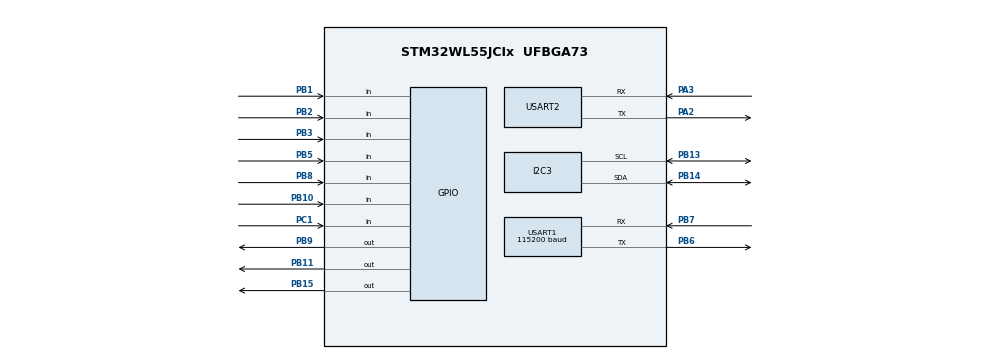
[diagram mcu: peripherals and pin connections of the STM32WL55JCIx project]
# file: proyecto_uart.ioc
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Mcu.Family=STM32WL
Mcu.Name=STM32WL55JCIx
Mcu.Package=UFBGA73
NVIC.PriorityGroup=NVIC_PRIORITYGROUP_4
PA2.Mode=Asynchronous
PA2.Signal=USART2_TX
PA3.Mode=Asynchronous
PA3.Signal=USART2_RX
PB1.GPIO_PuPd=GPIO_PULLDOWN
PB1.Signal=GPIO_Input
PB10.GPIO_PuPd=GPIO_PULLDOWN
PB10.Signal=GPIO_Input
PB11.Signal=GPIO_Output
PB13.Mode=I2C
PB13.Signal=I2C3_SCL
PB14.Mode=I2C
PB14.Signal=I2C3_SDA
PB15.Signal=GPIO_Output
PB2.GPIO_PuPd=GPIO_PULLDOWN
PB2.Signal=GPIO_Input
PB3.GPIO_PuPd=GPIO_PULLDOWN
PB3.Signal=GPIO_Input
PB5.GPIO_PuPd=GPIO_PULLDOWN
PB5.Signal=GPIO_Input
PB6.Mode=Asynchronous
PB6.Signal=USART1_TX
PB7.Mode=Asynchronous
PB7.Signal=USART1_RX
PB8.GPIO_PuPd=GPIO_PULLDOWN
PB8.Signal=GPIO_Input
PB9.Signal=GPIO_Output
PC1.GPIO_PuPd=GPIO_PULLDOWN
PC1.Signal=GPIO_Input
ProjectManager.HeapSize=0x200
ProjectManager.StackSize=0x400
ProjectManager.TargetToolchain=STM32CubeIDE
RCC.HSE_VALUE=8000000
RCC.HSI_VALUE=16000000
RCC.LSE_VALUE=32768
RCC.VCOOutputFreq_Value=32000000
USART1.BaudRate=115200
USART1.VirtualMode-Asynchronous=VM_ASYNC
USART2.VirtualMode-Asynchronous=VM_ASYNC
board=custom

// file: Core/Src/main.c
/* USER CODE BEGIN Header */
/**
  ******************************************************************************
  * @file           : main.c
  * @brief          : Main program body
  ******************************************************************************
  * @attention
  *
  * Copyright (c) 2023 STMicroelectronics.
  * All rights reserved.
  *
  * This software is licensed under terms that can be found in the LICENSE file
  * in the root directory of this software component.
  * If no LICENSE file comes with this software, it is provided AS-IS.
  *
  ******************************************************************************
  */
/* USER CODE END Header */
#include "main.h"

/* USER CODE BEGIN Includes */

#include <string.h>

/* USER CODE END Includes */

I2C_HandleTypeDef hi2c3;

UART_HandleTypeDef huart1;
UART_HandleTypeDef huart2;

void SystemClock_Config(void);
static void MX_GPIO_Init(void);
static void MX_I2C3_Init(void);
static void MX_USART1_UART_Init(void);
static void MX_USART2_UART_Init(void);
/* USER CODE BEGIN PFP */

uint8_t rx_indx;
uint8_t rx_data[6];
uint8_t rx_buffer[100];
uint8_t rx_transfer_cplt;
uint8_t UART1_rxBuffer[100] = {0};

char cadena[120];
char buf_tx[300];

const uint8_t tmp102_address = 0x48<<1;
const uint8_t mpu6050_address = 0x68<<1;

uint8_t MSG1[] = "- valor en data_marks";
uint8_t MSG2[] = "\r\n";

extern char buffer_rx[LEN_BUF][LEN_DATA];

const char *data_marks[] = {
	    "0B", "0D", "0E", "12", "13", "14", "16", "18", "19", "1A", "1B", "1C", "1D", "1F", "23", "33"
	};

/* USER CODE END PFP */

int main(void)
{

  /* MCU Configuration--------------------------------------------------------*/

  /* Reset of all peripherals, Initializes the Flash interface and the Systick. */
  HAL_Init();

  /* USER CODE BEGIN Init */

  MPU6050_Init(&hi2c3, mpu6050_address);

  /* USER CODE END Init */

  /* Configure the system clock */
  SystemClock_Config();

  /* Initialize all configured peripherals */
  MX_GPIO_Init();
  MX_I2C3_Init();
  MX_USART1_UART_Init();
  MX_USART2_UART_Init();
  /* USER CODE BEGIN 2 */

  uint32_t lat = 20518266;
  uint32_t lon = 100518390;
  uint8_t data[1] = "\0";

  uint8_t ErrorMSG1[] = "Comenzo \r\n";

  char Buffer[60] = {0};

  transmitirMensajes1(&huart2, &hi2c3);  //scanner i2c

  HAL_Delay(2000);

  /* USER CODE END 2 */

  /* Infinite loop */
  while (1)
  {

    /* USER CODE BEGIN 3 */

		HAL_UART_ReadString(&huart1, cadena, 120); //recibo la cadena de caracteres

		if (verifyChecksum2(cadena, 1)){
			HAL_GPIO_WritePin(GPIOB, GPIO_PIN_9, GPIO_PIN_RESET);
		}else{
			HAL_GPIO_WritePin(GPIOB, GPIO_PIN_9, GPIO_PIN_SET);
		}

		payload_msg(cadena, data_marks, &huart2, &hi2c3, tmp102_address, mpu6050_address);

		memset(buf_tx, 0, sizeof(buf_tx));

		sprintf(buf_tx, "Enviado: %s \r\n", cadena);
		HAL_UART_Transmit(&huart1, (uint8_t *)buf_tx, strlen(buf_tx), 10);

		memset(buf_tx, 0, sizeof(buf_tx));
		memset(cadena, 0, sizeof(cadena));

		read_temp(&huart2, &hi2c3, tmp102_address);
		mpu_read_data2(&huart2, &hi2c3, mpu6050_address);

  }
  /* USER CODE END 3 */
}

void SystemClock_Config(void)
{
  RCC_OscInitTypeDef RCC_OscInitStruct = {0};
  RCC_ClkInitTypeDef RCC_ClkInitStruct = {0};

  /** Configure the main internal regulator output voltage
  */
  __HAL_PWR_VOLTAGESCALING_CONFIG(PWR_REGULATOR_VOLTAGE_SCALE2);

  /** Initializes the CPU, AHB and APB buses clocks
  */
  RCC_OscInitStruct.OscillatorType = RCC_OSCILLATORTYPE_MSI;
  RCC_OscInitStruct.MSIState = RCC_MSI_ON;
  RCC_OscInitStruct.MSICalibrationValue = RCC_MSICALIBRATION_DEFAULT;
  RCC_OscInitStruct.MSIClockRange = RCC_MSIRANGE_6;
  RCC_OscInitStruct.PLL.PLLState = RCC_PLL_NONE;
  if (HAL_RCC_OscConfig(&RCC_OscInitStruct) != HAL_OK)
  {
    Error_Handler();
  }

  /** Configure the SYSCLKSource, HCLK, PCLK1 and PCLK2 clocks dividers
  */
  RCC_ClkInitStruct.ClockType = RCC_CLOCKTYPE_HCLK3|RCC_CLOCKTYPE_HCLK
                              |RCC_CLOCKTYPE_SYSCLK|RCC_CLOCKTYPE_PCLK1
                              |RCC_CLOCKTYPE_PCLK2;
  RCC_ClkInitStruct.SYSCLKSource = RCC_SYSCLKSOURCE_MSI;
  RCC_ClkInitStruct.AHBCLKDivider = RCC_SYSCLK_DIV1;
  RCC_ClkInitStruct.APB1CLKDivider = RCC_HCLK_DIV1;
  RCC_ClkInitStruct.APB2CLKDivider = RCC_HCLK_DIV1;
  RCC_ClkInitStruct.AHBCLK3Divider = RCC_SYSCLK_DIV1;

  if (HAL_RCC_ClockConfig(&RCC_ClkInitStruct, FLASH_LATENCY_0) != HAL_OK)
  {
    Error_Handler();
  }
}

static void MX_I2C3_Init(void)
{

  hi2c3.Instance = I2C3;
  hi2c3.Init.Timing = 0x00000E14;
  hi2c3.Init.OwnAddress1 = 0;
  hi2c3.Init.AddressingMode = I2C_ADDRESSINGMODE_7BIT;
  hi2c3.Init.DualAddressMode = I2C_DUALADDRESS_DISABLE;
  hi2c3.Init.OwnAddress2 = 0;
  hi2c3.Init.OwnAddress2Masks = I2C_OA2_NOMASK;
  hi2c3.Init.GeneralCallMode = I2C_GENERALCALL_DISABLE;
  hi2c3.Init.NoStretchMode = I2C_NOSTRETCH_DISABLE;
  if (HAL_I2C_Init(&hi2c3) != HAL_OK)
  {
    Error_Handler();
  }

  /** Configure Analogue filter
  */
  if (HAL_I2CEx_ConfigAnalogFilter(&hi2c3, I2C_ANALOGFILTER_ENABLE) != HAL_OK)
  {
    Error_Handler();
  }

  /** Configure Digital filter
  */
  if (HAL_I2CEx_ConfigDigitalFilter(&hi2c3, 0) != HAL_OK)
  {
    Error_Handler();
  }

}

static void MX_USART1_UART_Init(void)
{

  huart1.Instance = USART1;
  huart1.Init.BaudRate = 115200;
  huart1.Init.WordLength = UART_WORDLENGTH_8B;
  huart1.Init.StopBits = UART_STOPBITS_1;
  huart1.Init.Parity = UART_PARITY_NONE;
  huart1.Init.Mode = UART_MODE_TX_RX;
  huart1.Init.HwFlowCtl = UART_HWCONTROL_NONE;
  huart1.Init.OverSampling = UART_OVERSAMPLING_16;
  huart1.Init.OneBitSampling = UART_ONE_BIT_SAMPLE_DISABLE;
  huart1.Init.ClockPrescaler = UART_PRESCALER_DIV1;
  huart1.AdvancedInit.AdvFeatureInit = UART_ADVFEATURE_NO_INIT;
  if (HAL_UART_Init(&huart1) != HAL_OK)
  {
    Error_Handler();
  }
  if (HAL_UARTEx_SetTxFifoThreshold(&huart1, UART_TXFIFO_THRESHOLD_1_8) != HAL_OK)
  {
    Error_Handler();
  }
  if (HAL_UARTEx_SetRxFifoThreshold(&huart1, UART_RXFIFO_THRESHOLD_1_8) != HAL_OK)
  {
    Error_Handler();
  }
  if (HAL_UARTEx_DisableFifoMode(&huart1) != HAL_OK)
  {
    Error_Handler();
  }

}

static void MX_USART2_UART_Init(void)
{

  huart2.Instance = USART2;
  huart2.Init.BaudRate = 115200;
  huart2.Init.WordLength = UART_WORDLENGTH_8B;
  huart2.Init.StopBits = UART_STOPBITS_1;
  huart2.Init.Parity = UART_PARITY_NONE;
  huart2.Init.Mode = UART_MODE_TX_RX;
  huart2.Init.HwFlowCtl = UART_HWCONTROL_NONE;
  huart2.Init.OverSampling = UART_OVERSAMPLING_16;
  huart2.Init.OneBitSampling = UART_ONE_BIT_SAMPLE_DISABLE;
  huart2.Init.ClockPrescaler = UART_PRESCALER_DIV1;
  huart2.AdvancedInit.AdvFeatureInit = UART_ADVFEATURE_NO_INIT;
  if (HAL_UART_Init(&huart2) != HAL_OK)
  {
    Error_Handler();
  }
  if (HAL_UARTEx_SetTxFifoThreshold(&huart2, UART_TXFIFO_THRESHOLD_1_8) != HAL_OK)
  {
    Error_Handler();
  }
  if (HAL_UARTEx_SetRxFifoThreshold(&huart2, UART_RXFIFO_THRESHOLD_1_8) != HAL_OK)
  {
    Error_Handler();
  }
  if (HAL_UARTEx_DisableFifoMode(&huart2) != HAL_OK)
  {
    Error_Handler();
  }

}

static void MX_GPIO_Init(void)
{
  GPIO_InitTypeDef GPIO_InitStruct = {0};

  /* GPIO Ports Clock Enable */
  __HAL_RCC_GPIOB_CLK_ENABLE();
  __HAL_RCC_GPIOC_CLK_ENABLE();
  __HAL_RCC_GPIOA_CLK_ENABLE();

  /*Configure GPIO pin Output Level */
  HAL_GPIO_WritePin(GPIOB, GPIO_PIN_15|GPIO_PIN_9|GPIO_PIN_11, GPIO_PIN_RESET);

  /*Configure GPIO pins : PB15 PB9 PB11 */
  GPIO_InitStruct.Pin = GPIO_PIN_15|GPIO_PIN_9|GPIO_PIN_11;
  GPIO_InitStruct.Mode = GPIO_MODE_OUTPUT_PP;
  GPIO_InitStruct.Pull = GPIO_NOPULL;
  GPIO_InitStruct.Speed = GPIO_SPEED_FREQ_LOW;
  HAL_GPIO_Init(GPIOB, &GPIO_InitStruct);

  /*Configure GPIO pins : PB3 PB5 PB8 PB2
                           PB1 PB10 */
  GPIO_InitStruct.Pin = GPIO_PIN_3|GPIO_PIN_5|GPIO_PIN_8|GPIO_PIN_2
                          |GPIO_PIN_1|GPIO_PIN_10;
  GPIO_InitStruct.Mode = GPIO_MODE_INPUT;
  GPIO_InitStruct.Pull = GPIO_PULLDOWN;
  HAL_GPIO_Init(GPIOB, &GPIO_InitStruct);

  /*Configure GPIO pin : PC1 */
  GPIO_InitStruct.Pin = GPIO_PIN_1;
  GPIO_InitStruct.Mode = GPIO_MODE_INPUT;
  GPIO_InitStruct.Pull = GPIO_PULLDOWN;
  HAL_GPIO_Init(GPIOC, &GPIO_InitStruct);

}

void Error_Handler(void)
{
  __disable_irq();
  while (1)
  {
  }
}
